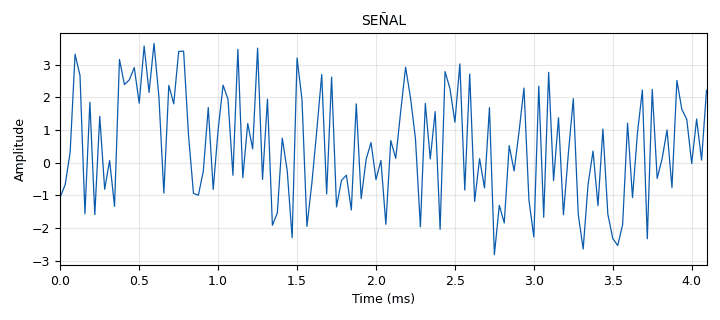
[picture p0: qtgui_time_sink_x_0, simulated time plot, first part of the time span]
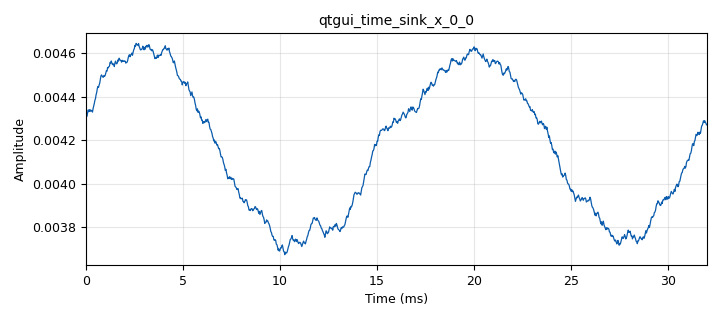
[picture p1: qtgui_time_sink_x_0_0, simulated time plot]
options:
  parameters:
    author: KAREN_VALENCIA_DUVAN_RICARDO_JAIMES
    copyright: UIS
    description: 'CALCULA EL PROMEDIO DE TIEMPOS DE UNA SEÑAL EN PRESENCIA DE RUIDO '
    generate_options: qt_gui
    id: PRACTICA2_RUIDO
    output_language: python
    title: PRACTICA2
  states: {}

blocks:
- name: samp_rate
  id: variable
  parameters:
    value: '32000'
  states: {}
- name: analog_noise_source_x_0
  id: analog_noise_source_x
  parameters:
    amp: '3'
    noise_type: analog.GR_UNIFORM
    seed: '0'
    type: float
  states: {}
- name: analog_sig_source_x_0
  id: analog_sig_source_x
  parameters:
    amp: '1'
    freq: '60'
    offset: '0'
    phase: '0'
    samp_rate: samp_rate
    type: float
    waveform: analog.GR_COS_WAVE
  states: {}
- name: blocks_add_xx_0
  id: blocks_add_xx
  parameters:
    type: float
  states: {}
- name: epy_block_0
  id: epy_block
  parameters:
    _source_code: "\nimport numpy as np\nfrom gnuradio import gr\n\n\nclass blk(gr.sync_block):\n    def __init__(self):\n        gr.sync_block.__init__(\n        self, \n        name = 'PROMEDIOS_TIEMPO',\n        in_sig =[np.float32],\n        out_sig=[np.float32, np.float32, np.float32, np.float32, np.float32]\n        )\n        self.acum_anterior =0\n        self.Ntotales =0\n        self.acum_anterior1=0\n        self.acum_anterior2=0\n\n        \n    def work(self, input_items, output_items): \n        x=input_items[0]        #señal de entrada \n        y0=output_items[0]      #promedio \n        y1=output_items[1]      #media cuadratica \n        y2=output_items[2]      #RMS\n        y3=output_items[3]      #potencia promedio \n        y4=output_items[4]      #desviacion estandar \n        \n        \n        #CALCULANDO EL PROMEDIO O MEDIA \n        N=len(x)\n        self.Ntotales=self.Ntotales + N #guarda la longitud del vectro de entrada \n        acumulador= self.acum_anterior + np.cumsum(x) #calcula la suma de los elementos del vector \n        self.acum_anterior=acumulador[N-1] #PARA QUE HACE ESA COPIA ?\n        y0[:]=(acumulador/self.Ntotales) #NO SERIA acum_anterior ?\n        \n        #CALCULANDO LA MEDIA CUADRATICA\n        xp=np.multiply(x,x)\n        acumulador1=self.acum_anterior1 + np.cumsum(xp)\n        self.acum_anterior1=acumulador1[N-1]\n        y1[:]=acumulador1/self.Ntotales\n        \n        #CALCULANDO EL VALOR RMS \n        y2[:]=np.sqrt(y1)\n        \n        #CALCULANDO LA POTENCIA PROMEDIO \n        y3[:]=np.multiply(y2,y2)\n        \n        #CALCULANDO LA DESVIACION ESTANDAR \n        xd=np.multiply(x-y0,x-y0)\n        acumulador2=self.acum_anterior2 + np.cumsum(xd)\n        self.acum_anterior2=acumulador2[N-1]\n        y4[:]=np.sqrt(acumulador2/self.Ntotales)\n        \n        return len(y0)\n"
  states: {}
- name: epy_block_1
  id: epy_block
  parameters:
    _source_code: |-
      """
      Embedded Python Blocks:

      Each time this file is saved, GRC will instantiate the first class it finds
      to get ports and parameters of your block. The arguments to __init__  will
      be the parameters. All of them are required to have default values!
      """


      #crear el vector de ruido 

      import numpy as np
      from gnuradio import gr


      class blck(gr.sync_block):
          def __init__(self):
              gr.sync_block.__init__( 
      	self,
              name='RUIDO',
              in_sig=[np.float32],
              out_sig=[np.float32]
              )

          def work(self, input_items, output_items):
              x=input_items[0]
              y=output_items[0]
              
              N=len(x)
              noise=np.random.normal(0,1,N)
              y[:]=noise
          
              return len(y)
  states: {state: disabled}
- name: qtgui_freq_sink_x_0
  id: qtgui_freq_sink_x
  parameters:
    autoscale: 'True'
    bw: samp_rate
    fc: '0'
    fftsize: '1024'
    type: float
  states: {state: disabled}
- name: qtgui_number_sink_0
  id: qtgui_number_sink
  parameters:
    autoscale: 'True'
    graph_type: qtgui.NUM_GRAPH_HORIZ
    name: '"PROMEDIO O MEDIA "'
    type: float
  states: {}
- name: qtgui_number_sink_0_0
  id: qtgui_number_sink
  parameters:
    autoscale: 'True'
    graph_type: qtgui.NUM_GRAPH_HORIZ
    name: '"VALOR RMS"'
    type: float
  states: {}
- name: qtgui_number_sink_0_1
  id: qtgui_number_sink
  parameters:
    autoscale: 'True'
    graph_type: qtgui.NUM_GRAPH_HORIZ
    name: '"DESVIACION ESTANDAR "'
    type: float
  states: {}
- name: qtgui_number_sink_0_2
  id: qtgui_number_sink
  parameters:
    autoscale: 'True'
    graph_type: qtgui.NUM_GRAPH_HORIZ
    name: '"MEDIA CUADRATICA"'
    type: float
  states: {}
- name: qtgui_number_sink_0_3
  id: qtgui_number_sink
  parameters:
    autoscale: 'True'
    graph_type: qtgui.NUM_GRAPH_HORIZ
    name: '"POTENCIA PROMEDIO"'
    type: float
  states: {}
- name: qtgui_time_sink_x_0
  id: qtgui_time_sink_x
  parameters:
    autoscale: 'True'
    name: '"SEÑAL"'
    size: '1024'
    srate: samp_rate
    type: float
  states: {}
- name: qtgui_time_sink_x_0_0
  id: qtgui_time_sink_x
  parameters:
    autoscale: 'True'
    size: '1024'
    srate: samp_rate
    type: float
  states: {}

connections:
- [analog_noise_source_x_0, '0', blocks_add_xx_0, '0']
- [analog_sig_source_x_0, '0', blocks_add_xx_0, '1']
- [analog_sig_source_x_0, '0', epy_block_1, '0']
- [blocks_add_xx_0, '0', epy_block_0, '0']
- [blocks_add_xx_0, '0', qtgui_freq_sink_x_0, '0']
- [blocks_add_xx_0, '0', qtgui_time_sink_x_0, '0']
- [epy_block_0, '0', qtgui_number_sink_0, '0']
- [epy_block_0, '0', qtgui_time_sink_x_0_0, '0']
- [epy_block_0, '1', qtgui_number_sink_0_2, '0']
- [epy_block_0, '2', qtgui_number_sink_0_0, '0']
- [epy_block_0, '3', qtgui_number_sink_0_3, '0']
- [epy_block_0, '4', qtgui_number_sink_0_1, '0']
- [epy_block_1, '0', blocks_add_xx_0, '0']

metadata:
  file_format: 1
  grc_version: 3.10.9.2
